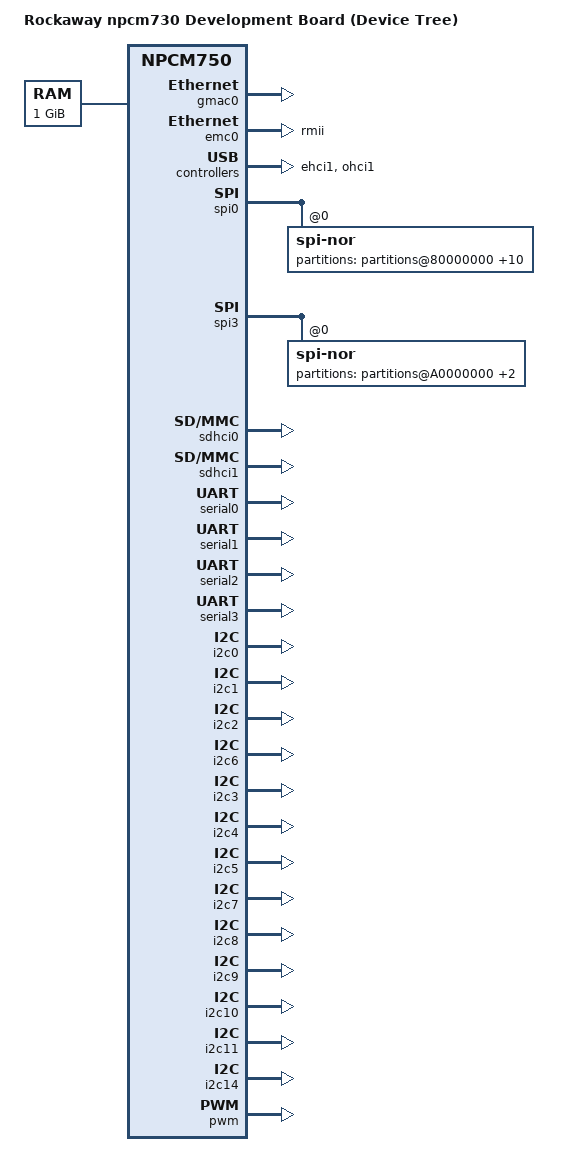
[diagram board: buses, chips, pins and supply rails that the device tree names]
// SPDX-License-Identifier: GPL-2.0
// Copyright (c) 2018 Nuvoton Technology tomer.maimon@nuvoton.com
// Copyright 2018 Google, Inc.

/dts-v1/;
#include "nuvoton-npcm730.dtsi"

/ {
	model = "Rockaway npcm730 Development Board (Device Tree)";
	compatible = "nuvoton,npcm750";

	aliases {
		ethernet0 = &emc0;
		ethernet1 = &gmac0;
		serial0 = &serial0;
		serial1 = &serial1;
		serial2 = &serial2;
		serial3 = &serial3;
		i2c0 = &i2c0;
		i2c1 = &i2c1;
		i2c2 = &i2c2;
		i2c3 = &i2c3;
		i2c4 = &i2c4;
		i2c5 = &i2c5;
		i2c6 = &i2c6;
		i2c7 = &i2c7;
		i2c8 = &i2c8;
		i2c9 = &i2c9;
		i2c10 = &i2c10;
		i2c11 = &i2c11;
		i2c12 = &i2c12;
		i2c13 = &i2c13;
		i2c14 = &i2c14;
		i2c15 = &i2c15;
	};

	chosen {
		stdout-path = &serial3;
	};

	memory {
		reg = <0 0x40000000>;
	};

	ahb {
	        gmac0: eth@f0802000 {
			status = "okay";
		};


		emc0: eth@f0825000 {
			phy-mode = "rmii";
			#use-ncsi; /* add this to support ncsi */
			status = "okay";
		};

		ehci1: ehci@f0806000 {
			status = "okay";
		};

		ohci1: ohci@f0807000 {
			status = "okay";
		};

		aes:aes@f0858000 {
			status = "okay";
		};

		sha:sha@f085a000 {
			status = "okay";
		};

		spi0: spi@fb000000 {
			spi-nor@0 {
				partitions@80000000 {
					compatible = "fixed-partitions";
					#address-cells = <1>;
					#size-cells = <1>;
					bbuboot1@0 {
						label = "bb-uboot-1";
						reg = <0x0000000 0x80000>;
						read-only;
						};
					bbuboot2@80000 {
						label = "bb-uboot-2";
						reg = <0x0080000 0x80000>;
						read-only;
						};
					envparam@100000 {
						label = "env-param";
						reg = <0x0100000 0x40000>;
						read-only;
						};
					spare@140000 {
						label = "spare";
						reg = <0x0140000 0xC0000>;
						};
					kernel@200000 {
						label = "kernel";
						reg = <0x0200000 0x400000>;
						};
					rootfs@600000 {
						label = "rootfs";
						reg = <0x0600000 0x700000>;
						};
					spare1@D00000 {
						label = "spare1";
						reg = <0x0D00000 0x200000>;
						};
					spare2@0F00000 {
						label = "spare2";
						reg = <0x0F00000 0x200000>;
						};
					spare3@1100000 {
						label = "spare3";
						reg = <0x1100000 0x200000>;
						};
					spare4@1300000 {
						label = "spare4";
						reg = <0x1300000 0x0>;
					};
				};
			};
		};

		spi3: spi@c0000000 {
				spi-nor@0 {
				partitions@A0000000 {
					compatible = "fixed-partitions";
					#address-cells = <1>;
					#size-cells = <1>;
					system1@0 {
						label = "spi3-system1";
						reg = <0x0 0x800000>;
					};
					system2@800000 {
						label = "spi3-system2";
						reg = <0x800000 0x0>;
					};
				};
			};
		};

		sdhci0: sdhci@f0840000 {
			status = "okay";
		};

		sdhci1: sdhci@f0842000 {
			status = "okay";
		};

		apb {

			watchdog1: watchdog@901C {
				status = "okay";
			};

			rng: rng@b000 {
				status = "okay";
			};

			serial0: serial@1000 {
				status = "okay";
			};

			serial1: serial@2000 {
				status = "okay";
			};

			serial2: serial@3000 {
				status = "okay";
			};

			serial3: serial@4000 {
				status = "okay";
			};

			otp:otp@189000 {
				status = "okay";
			};

			lpc_kcs: lpc_kcs@7000 {
				kcs1: kcs1@0 {
					status = "okay";
				};

				kcs2: kcs2@0 {
					status = "okay";
				};

				kcs3: kcs3@0 {
					status = "okay";
				};
			};

			/* lm75 on SVB */
			i2c0: i2c-bus@80000 {
				#address-cells = <1>;
				#size-cells = <0>;
				status = "okay";
			};

			/* lm75 on EB */
			i2c1: i2c-bus@81000 {
				#address-cells = <1>;
				#size-cells = <0>;
				status = "okay";
			};

			i2c2: i2c-bus@82000 {
				#address-cells = <1>;
				#size-cells = <0>;
				status = "okay";
			};

			i2c6: i2c-bus@86000 {
				#address-cells = <1>;
				#size-cells = <0>;
				status = "okay";
			};

			i2c3: i2c-bus@83000 {
				#address-cells = <1>;
				#size-cells = <0>;
				status = "okay";
			};

			i2c4: i2c-bus@84000 {
				#address-cells = <1>;
				#size-cells = <0>;
				status = "okay";
			};

			i2c5: i2c-bus@85000 {
				#address-cells = <1>;
				#size-cells = <0>;
				status = "okay";
			};

			i2c7: i2c-bus@87000 {
				#address-cells = <1>;
				#size-cells = <0>;
				status = "okay";
			};

			i2c8: i2c-bus@88000 {
				#address-cells = <1>;
				#size-cells = <0>;
				status = "okay";
			};

			i2c9: i2c-bus@89000 {
				#address-cells = <1>;
				#size-cells = <0>;
				status = "okay";
			};

			i2c10: i2c-bus@8a000 {
				#address-cells = <1>;
				#size-cells = <0>;
				status = "okay";
			};

			i2c11: i2c-bus@8b000 {
				#address-cells = <1>;
				#size-cells = <0>;
				status = "okay";
			};

			i2c14: i2c-bus@8e000 {
				#address-cells = <1>;
				#size-cells = <0>;
				status = "okay";
			};


			fan: fan@0 {
				pinctrl-names = "default";
				pinctrl-0 = <   &fanin0_pins
						&fanin1_pins
						&fanin2_pins
						&fanin3_pins
						&fanin4_pins
						&fanin5_pins
						&fanin6_pins
					&fanin7_pins>;
				status = "okay";
			};

			pwm: pwm@103000 {
				pinctrl-names = "default";
				pinctrl-0 = <	&pwm0_pins
						&pwm1_pins
						&pwm2_pins
						&pwm3_pins
						&pwm4_pins
						&pwm5_pins
						&pwm6_pins
						&pwm7_pins>;
				status = "okay";
			};

	/* Here is an example for future pspi binding */
	/*
			pspi: pspi@0 {
				pinctrl-names = "default";
				pinctrl-0 = <&pspi1_pins &pspi2_pins &gpio20o_pins &gpio203o_pins> ;
				cs-gpios = <&gpio 20 1>, <&gpio 203 1>;
				status = "okay";
			};
	*/
		};
	};

	pinctrl: pinctrl@0 {
		pinctrl-names = "default";
		pinctrl-0 = <	&iox1_pins
				&gpio4_pins
				&gpio5_pins
				&gpio6o_pins
				&gpio7o_pins
				&gpio8_pins
				&gpio9_pins
				&gpio10_pins
				&gpio11_pins
				&gpio12o_pins
				&gpio13_pins
				&gpio14_pins
				&gpio15o_pins
				&gpio16o_pins
				&gpio17o_pins
				&gpio18ol_pins
				&gpio19ol_pins
				&gpio20_pins
				&gpio21_pins
				&gpio24_pins
				&gpio25_pins
				&gpio26_pins
				&gpio27_pins
				&gpio32_pins
				&gpio37ol_pins
				&gpio38ol_pins
				&gpio39ol_pins
				&gpio40ol_pins
				&jtag2_pins
				&gpio59_pins
				&gpio60_pins
				&gpio61_pins
				&gpio62_pins
				&gpio63_pins
				&gpio72_pins
				&gpio73_pins
				&gpio74_pins
				&gpio75_pins
				&gpio76_pins
				&gpio77_pins
				&gpio78_pins
				&gpio79_pins
				&gpio84o_pins
				&gpio85o_pins
				&gpio86o_pins
				&gpio87o_pins
				&gpio88_pins
				&gpio89_pins
				&gpio90_pins
				&gpio91_pins
				&gpio92_pins
				&gpio93_pins
				&gpio94o_pins
				&gpio110ol_pins
				&gpio111ol_pins
				&gpio112ol_pins
				&gpio113ol_pins
				&gpio120_pins
				&gpio121_pins
				&gpio122_pins
				&gpio123_pins
				&gpio124_pins
				&gpio125_pins
				&gpio126_pins
				&gpio127_pins
				&gpio136_pins
				&gpio137_pins
				&gpio138_pins
				&gpio139_pins
				&gpio140_pins
				&gpio141_pins
				&gpio142_pins
				&gpio143_pins
				&gpio148ol_pins
				&gpio149ol_pins
				&gpio150ol_pins
				&gpio151ol_pins
				&gpio152ol_pins
				&gpio153_pins
				&gpio154ol_pins
				&gpio155_pins
				&gpio156_pins
				&gpio157ol_pins
				&gpio158ol_pins
				&gpio159ol_pins
				&gpio160ol_pins
				&serirq_pins
				&lpc_pins
				&gpio168ol_pins
				&gpio169o_pins
				&gpio170_pins
				&gpio173o_pins
				&gpio174_pins
				&gpio175o_pins
				&gpio176o_pins
				&gpio177ol_pins
				&gpio187o_pins
				&gpio188o_pins
				&gpio189o_pins
				&gpio190_pins
				&gpio191o_pins
				&gpio192ol_pins
				&gpio194_pins
				&gpio195_pins
				&gpio196_pins
				&gpio197o_pins
				&gpio198o_pins
				&gpio199_pins
				&gpio200_pins
				&gpio202_pins
				&gpio203ol_pins
				&gpio204o_pins
				&gpio205o_pins
				&gpio206o_pins
				&gpio207o_pins
				&ddc_pins
				&gpio208ol_pins
				&gpio209_pins
				&gpio210ol_pins
				&gpio211ol_pins
				&gpio212o_pins
				&gpio213o_pins
				&gpio214ol_pins
				&gpio215ol_pins
				&gpio216ol_pins
				&gpio217ol_pins
				&gpio218_pins
				&gpio219_pins
				&gpio224ol_pins
				&gpio225_pins
				&gpio226_pins
				&gpio227ol_pins
				&gpio228_pins
				&gpio229_pins
				&gpio230ol_pins
				&clkreq_pins>;
	};
};
